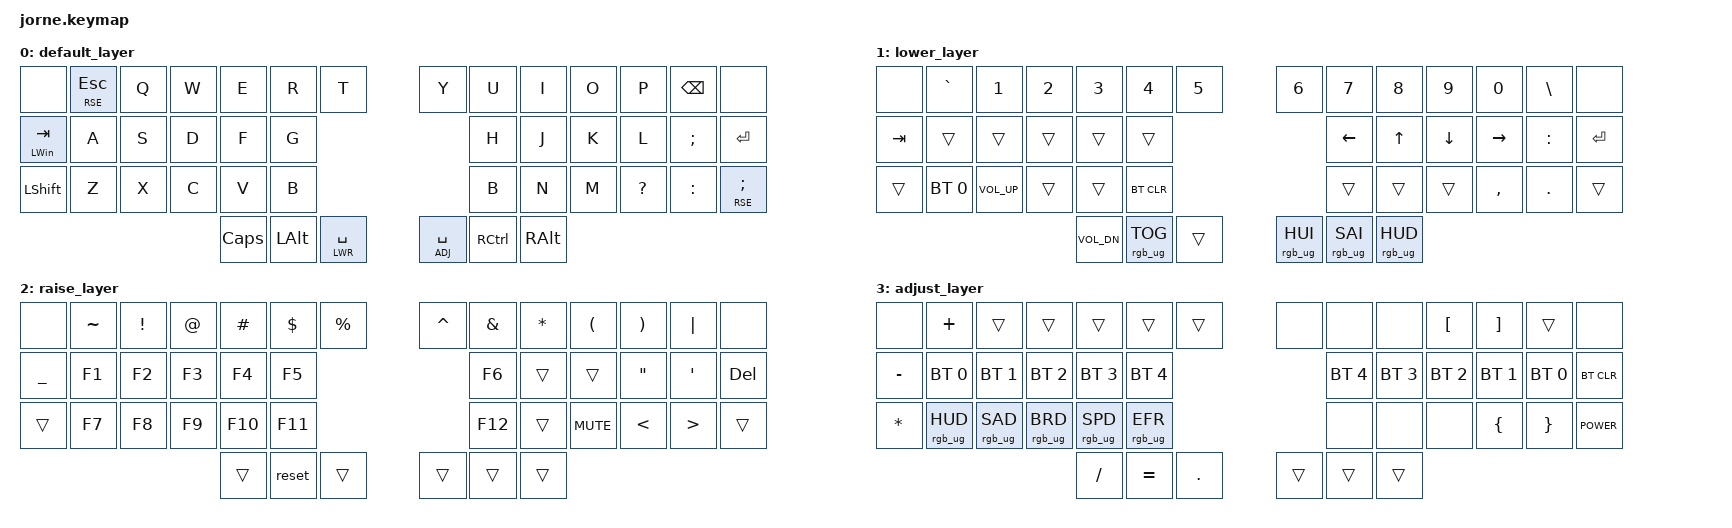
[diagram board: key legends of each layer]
/*
 * Copyright (c) 2020 The ZMK Contributors
 *
 * SPDX-License-Identifier: MIT
 */
#include <dt-bindings/led/led.h>
#include <behaviors.dtsi>
#include <dt-bindings/zmk/keys.h>
#include <dt-bindings/zmk/bt.h>
#include <dt-bindings/zmk/outputs.h>
#include <dt-bindings/zmk/rgb.h>

#define DEF 0
#define LWR 1
#define RSE 2
#define ADJ 3

&spi1 {
	compatible = "nordic,nrf-spim";
	/* Cannot be used together with i2c0. */
	status = "okay";
	mosi-pin = <6>;
	// Unused pins, needed for SPI definition, but not used by the ws2812 driver itself.
	sck-pin = <5>;
	miso-pin = <7>;

	led_strip: ws2812@0 {
		compatible = "worldsemi,ws2812-spi";
		label = "WS2812";

		/* SPI */
		reg = <0>; /* ignored, but necessary for SPI bindings */
		spi-max-frequency = <4000000>;

		/* WS2812 */
		chain-length = <6>; /* There are per-key RGB, but the first 6 are underglow */
		spi-one-frame = <0x70>;
		spi-zero-frame = <0x40>;
		color-mapping = <LED_COLOR_ID_GREEN LED_COLOR_ID_RED LED_COLOR_ID_BLUE>;
	};
};

/ {
    chosen {
		zmk,underglow = &led_strip;
	};

        keymap {
                compatible = "zmk,keymap";

                default_layer {
// -----------------------------------------------------------------------------------------
// |  GUI |   &lt RSE ESC  |  Q  |  W  |  E  |  R  |  T  |   |  Y  |  U   |  I  |  O  |  P  |  [   | GUI/] |
//        |  &lt DEF GUI |  A  |  S  |  D  |  F  |  G  |   |  H  |  J   |  K  |  L  |  ;  |CTRL/'|
//        | LALT |  Z  |  X  |  C  |  V  |  B  |   |  N  |  M   |  ,  |  .  |  /  | RALT |
//                           | RSE | SPC | &lt LWR SPACE |   | LWR | BKSP | RSE | 
                        bindings = <
   &none      &lt RSE ESC  &kp Q &kp W &kp E &kp R &kp T             &kp Y &kp U &kp I &kp O &kp P          &kp BACKSPACE &none
                &mt LWIN TAB &kp A &kp S &kp D &kp F &kp G             &kp H &kp J &kp K &kp L &kp SEMI       &kp ENTER    
                &kp LSHFT    &kp Z &kp X &kp C &kp V &kp B             &kp B &kp N &kp M &kp QMARK &kp COLON  &lt RSE SEMI
                             &kp CAPS &kp LALT &lt LWR SPACE           &lt ADJ SPACE &kp RCTRL &kp RALT
                        >;
                };
                lower_layer {
// -----------------------------------------------------------------------------------------
// |     |  _  |  F1 |  F2 |  F3 |  F4 |  F5 |   |  F6 |  F7 |  F8 |  F9 | F10 | F11 | F12 |
//       |  +  |  !  |  @  |  #  |  $  |  %  |   |  ^  |  &  |  *  |  (  |  )  |  -  |
//       |  =  |  1  |  2  |  3  |  4  |  5  |   |  6  |  7  |  8  |  9  |  0  |     |
//                    | GUI |     | SPC |   | ENT |     | ALT | 
                        bindings = <
   &none &kp GRAVE &kp N1 &kp N2 &kp N3 &kp N4 &kp N5                                        &kp N6   &kp N7 &kp N8   &kp N9    &kp N0     &kp BSLH &none
          &kp TAB   &trans &trans &trans &trans &trans                                        &kp LEFT &kp UP &kp DOWN &kp RIGHT &kp COLON  &kp ENTER
          &trans    &bt BT_SEL 0 &kp C_VOL_UP &trans &trans &bt BT_CLR                        &trans   &trans &trans   &kp COMMA &kp DOT    &trans
                    &kp C_VOL_DN &rgb_ug RGB_TOG &trans                                       &rgb_ug RGB_HUI &rgb_ug RGB_SAI &rgb_ug RGB_HUD
                        >;
                };

                raise_layer {
// -----------------------------------------------------------------------------------------
// |     | NMLK |  /  |  7  |  8  |  9  |  -  |   | VOLU| HOME| PRSC| PGUP| SCLK| CLCK|     |
//       | CTRL |  *  |  4  |  5  |  6  |  +  |   | MUT | LEFT|  UP | RGHT| INS | APP |
//       |      |  0  |  1  |  2  |  3  |  .  |   | VOLD| END | DOWN| PGDN| PAUS|     |
//                          |     |     | ADJ |   | ADJ |     |     |
                        bindings = <
   &none &kp TILDE &kp EXCL &kp AT &kp HASH &kp DLLR &kp PRCNT        &kp CARET &kp AMPS &kp STAR    &kp LPAR &kp RPAR  &kp PIPE &none
          &kp UNDER &kp F1   &kp F2 &kp F3   &kp F4   &kp F5           &kp F6    &trans   &trans      &kp DQT  &kp APOS  &kp DEL
          &trans    &kp F7   &kp F8 &kp F9   &kp F10  &kp F11          &kp F12   &trans   &kp C_MUTE  &kp LT   &kp GT    &trans 
                    &trans &reset &trans                               &trans &trans &trans
                        >;
                };
                adjust_layer {
// -----------------------------------------------------------------------------------------
// | RST | BLDR | HI  | SI  | BI  | PI  | EF  |   |     |     |     |     |     | BLDR | RST | 
//       | BTCLR| BT0 | BT1 | BT2 | BT3 | BT4 |   | BT4 | BT3 | BT2 | BT1 | BT0 | BTCLR|
//       |      | HD  | SD  | BD  | PD  | ER  |   |     |     |     |     |     |      | 
//                          |     | RGB |     |   |     | OUT |     |
                        bindings = <
   &none &kp PLUS  &trans          &trans          &trans          &trans          &trans             &none        &none        &none        &kp LBKT     &kp RBKT      &trans      &none
          &kp MINUS &bt BT_SEL 0    &bt BT_SEL 1    &bt BT_SEL 2    &bt BT_SEL 3    &bt BT_SEL 4       &bt BT_SEL 4 &bt BT_SEL 3 &bt BT_SEL 2 &bt BT_SEL 1 &bt BT_SEL 0  &bt BT_CLR
          &kp STAR  &rgb_ug RGB_HUD &rgb_ug RGB_SAD &rgb_ug RGB_BRD &rgb_ug RGB_SPD &rgb_ug RGB_EFR    &none        &none        &none        &kp LBRC     &kp RBRC      &kp K_POWER
                    &kp FSLH &kp EQUAL &kp DOT                      &trans &trans &trans
                        >;
                };
        };
};
